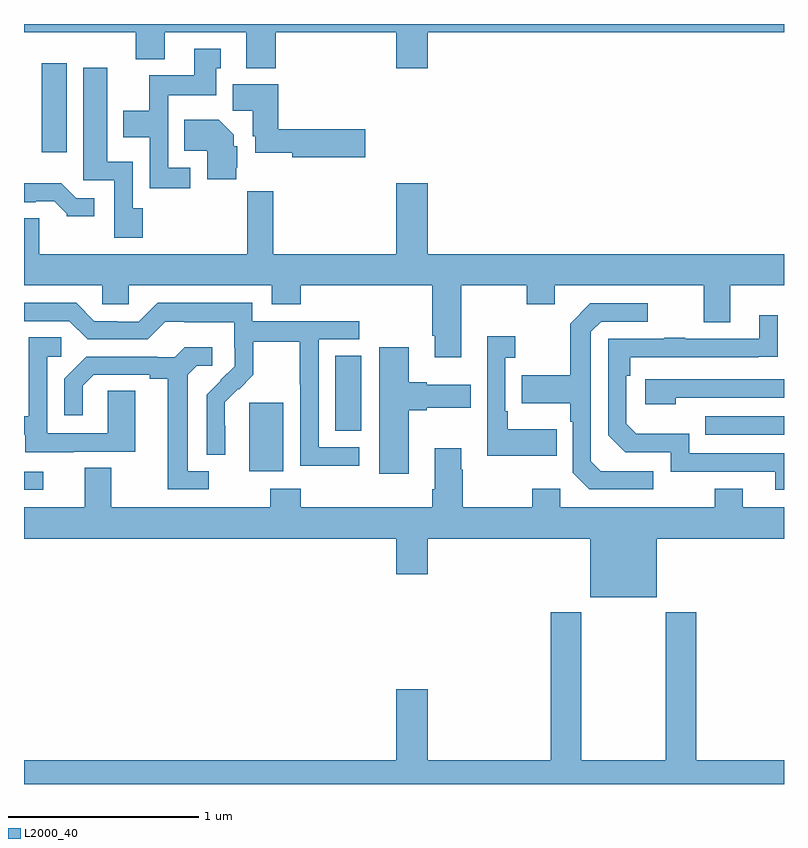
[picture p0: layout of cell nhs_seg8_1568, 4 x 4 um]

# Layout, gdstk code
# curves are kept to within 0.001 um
import gdstk
lib = gdstk.Library(unit=1e-6, precision=1e-09)
def R(c, l, rs):  # rectangles x0, y0, x1, y1
    for r in rs: c.add(gdstk.rectangle(r[:2], r[2:], *l))
def P(c, l, *ps):  # polygons
    for p in ps: c.add(gdstk.Polygon(p, *l))
L2000_40 = (2000, 40)

nhs_seg8_1568 = lib.new_cell('nhs_seg8_1568')
R(nhs_seg8_1568, L2000_40, [(211,1091.448,211.102,1091.544), (212.186,1091.546,212.365,1091.907), (214.585,1091.739,215,1091.835), (212.639,1091.758,212.776,1092.155), (211.094,1093.224,211.225,1093.693)])
P(nhs_seg8_1568, L2000_40, [(212.324,1093.856),(212.96,1093.856),(212.96,1093.668),(213.124,1093.668),(213.124,1093.856),(215,1093.856),(215,1093.9),(211,1093.9),(211,1093.856),(211.589,1093.856),(211.589,1093.715),(211.741,1093.715),(211.741,1093.856),(212.171,1093.856),(212.171,1093.667),(212.324,1093.667)],
  [(211.876,1093.143),(211.758,1093.143),(211.758,1093.526),(212.011,1093.526),(212.011,1093.668),(212.035,1093.668),(212.035,1093.771),(211.895,1093.771),(211.895,1093.63),(211.66,1093.63),(211.66,1093.444),(211.523,1093.444),(211.523,1093.304),(211.662,1093.304),(211.662,1093.035),(211.876,1093.035)],
  [(211.625,1092.93),(211.572,1092.93),(211.572,1093.174),(211.438,1093.174),(211.438,1093.669),(211.313,1093.669),(211.313,1093.077),(211.476,1093.077),(211.476,1092.774),(211.625,1092.774)],
  [(212.797,1093.346),(212.339,1093.346),(212.339,1093.582),(212.099,1093.582),(212.099,1093.444),(212.204,1093.444),(212.204,1093.308),(212.216,1093.308),(212.216,1093.223),(212.412,1093.223),(212.412,1093.199),(212.797,1093.199)],
  [(212.117,1093.143),(212.122,1093.143),(212.122,1093.257),(212.104,1093.257),(212.104,1093.318),(212.026,1093.396),(211.843,1093.396),(211.843,1093.232),(211.964,1093.232),(211.964,1093.082),(212.117,1093.082)],
  [(211.369,1092.984),(211.275,1092.984),(211.197,1093.063),(211,1093.063),(211,1092.963),(211.061,1092.963),(211.061,1092.966),(211.16,1092.966),(211.224,1092.902),(211.224,1092.887),(211.369,1092.887)],
  [(213.124,1093.063),(212.96,1093.063),(212.96,1092.688),(212.312,1092.688),(212.312,1093.021),(212.176,1093.021),(212.176,1092.688),(211.081,1092.688),(211.081,1092.878),(211,1092.878),(211,1092.524),(211.413,1092.524),(211.413,1092.426),(211.551,1092.426),(211.551,1092.524),(212.303,1092.524),(212.303,1092.425),(212.456,1092.425),(212.456,1092.524),(213.149,1092.524),(213.149,1092.259),(213.161,1092.259),(213.161,1092.147),(213.301,1092.147),(213.301,1092.524),(213.646,1092.524),(213.646,1092.425),(213.793,1092.425),(213.793,1092.524),(214.577,1092.524),(214.577,1092.33),(214.717,1092.33),(214.717,1092.524),(215,1092.524),(215,1092.688),(213.124,1092.688)],
  [(212.764,1091.673),(212.55,1091.673),(212.55,1092.24),(212.764,1092.24),(212.764,1092.336),(212.202,1092.336),(212.202,1092.433),(211.705,1092.433),(211.605,1092.333),(211.49,1092.333),(211.49,1092.336),(211.371,1092.336),(211.275,1092.432),(211,1092.432),(211,1092.336),(211.239,1092.336),(211.335,1092.24),(211.65,1092.24),(211.743,1092.333),(211.843,1092.333),(211.843,1092.329),(212.106,1092.329),(212.106,1092.195),(212.108,1092.195),(212.108,1092.098),(211.962,1091.95),(211.962,1091.632),(212.058,1091.632),(212.057,1091.909),(212.127,1091.979),(212.13,1091.976),(212.207,1092.053),(212.207,1092.228),(212.452,1092.228),(212.452,1092.004),(212.454,1092.004),(212.454,1091.575),(212.764,1091.575)],
  [(214.312,1091.547),(214.035,1091.547),(213.984,1091.598),(213.984,1092.279),(214.038,1092.333),(214.282,1092.333),(214.282,1092.429),(213.981,1092.429),(213.876,1092.323),(213.876,1092.051),(213.619,1092.051),(213.619,1091.903),(213.876,1091.903),(213.876,1091.807),(213.888,1091.807),(213.888,1091.538),(213.975,1091.451),(214.312,1091.451)],
  [(215,1091.64),(214.5,1091.64),(214.5,1091.743),(214.223,1091.743),(214.17,1091.796),(214.17,1092.05),(214.19,1092.05),(214.19,1092.147),(214.967,1092.148),(214.967,1092.367),(214.871,1092.367),(214.871,1092.243),(214.481,1092.243),(214.481,1092.248),(214.369,1092.248),(214.369,1092.243),(214.074,1092.243),(214.074,1091.736),(214.164,1091.646),(214.404,1091.646),(214.404,1091.544),(214.955,1091.544),(214.955,1091.448),(215,1091.448)],
  [(213.803,1091.767),(213.547,1091.767),(213.547,1091.863),(213.534,1091.863),(213.534,1092.143),(213.586,1092.143),(213.586,1092.256),(213.438,1092.256),(213.438,1091.627),(213.803,1091.627)],
  [(211.261,1091.649),(211.585,1091.649),(211.585,1091.969),(211.44,1091.969),(211.44,1091.745),(211.122,1091.745),(211.122,1092.15),(211.195,1092.15),(211.195,1092.251),(211.026,1092.251),(211.026,1091.835),(211,1091.835),(211,1091.739),(211.007,1091.739),(211.007,1091.645),(211.261,1091.645)],
  [(213.025,1091.867),(213.121,1091.867),(213.121,1091.879),(213.352,1091.879),(213.352,1092.001),(213.121,1092.001),(213.121,1092.014),(213.025,1092.014),(213.025,1092.199),(212.87,1092.199),(212.87,1091.532),(213.025,1091.532)],
  [(211.972,1091.547),(211.861,1091.547),(211.861,1092.055),(211.908,1092.102),(211.99,1092.102),(211.99,1092.199),(211.846,1092.199),(211.794,1092.147),(211.7,1092.147),(211.7,1092.15),(211.328,1092.15),(211.212,1092.034),(211.212,1091.841),(211.309,1091.841),(211.309,1091.997),(211.366,1092.054),(211.661,1092.054),(211.661,1092.032),(211.757,1092.032),(211.757,1091.451),(211.972,1091.451)],
  [(214.43,1091.934),(215,1091.934),(215,1092.03),(214.269,1092.03),(214.269,1091.9),(214.43,1091.9)],
  [(212.456,1091.455),(212.296,1091.455),(212.296,1091.356),(211.459,1091.356),(211.459,1091.564),(211.319,1091.564),(211.319,1091.356),(211,1091.356),(211,1091.192),(212.96,1091.192),(212.96,1091.004),(213.124,1091.004),(213.124,1091.192),(213.98,1091.192),(213.98,1090.883),(214.33,1090.883),(214.33,1091.192),(215,1091.192),(215,1091.356),(214.783,1091.356),(214.783,1091.455),(214.636,1091.455),(214.636,1091.356),(213.822,1091.356),(213.822,1091.455),(213.676,1091.455),(213.676,1091.356),(213.309,1091.356),(213.309,1091.555),(213.301,1091.555),(213.301,1091.668),(213.161,1091.668),(213.161,1091.452),(213.149,1091.452),(213.149,1091.356),(212.456,1091.356)],
  [(211,1089.9),(215,1089.9),(215,1090.024),(214.538,1090.024),(214.538,1090.804),(214.378,1090.804),(214.378,1090.024),(213.933,1090.024),(213.933,1090.804),(213.773,1090.804),(213.773,1090.024),(213.124,1090.024),(213.124,1090.399),(212.96,1090.399),(212.96,1090.024),(211,1090.024)])

lib.write_gds('nhs_seg8_1568.gds')
